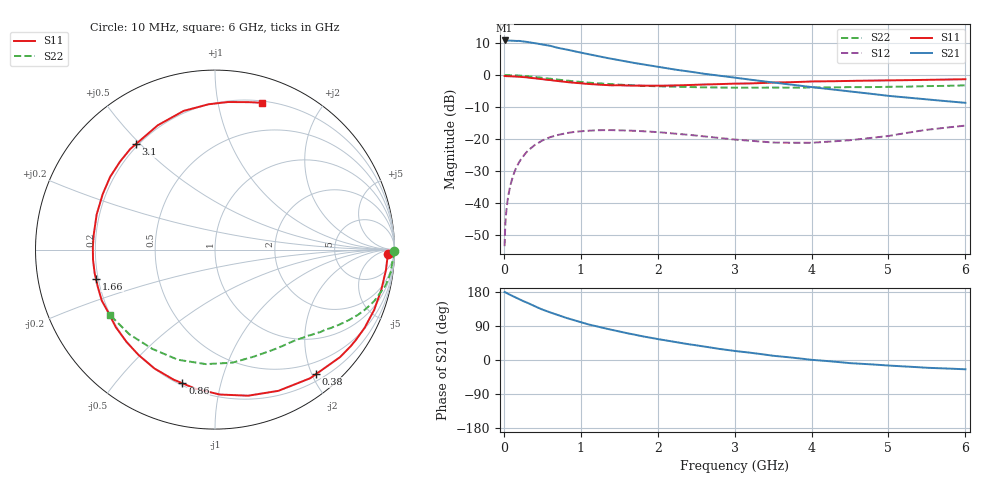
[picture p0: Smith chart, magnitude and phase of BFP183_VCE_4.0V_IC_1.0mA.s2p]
! Infineon Technologies  Discrete & RF Semiconductors
! BFP183
! VCE = 4.0 V,  IC =  1.0 mA
! Common Emitter S-Parameters:  Jan 2016
# GHz  S  MA  R  50
!  f  S11  S21  S12  S22
! GHz  MAG  ANG  MAG  ANG  MAG  ANG  MAG  ANG
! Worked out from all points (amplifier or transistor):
!   210 points, 10 MHz to 6 GHz, reference 50 ohm
!   highest |S21| = 10.8 dB at 10 MHz (marker M1)
!   |S21| within 3 dB of that: start of sweep to 847.1 MHz
!   unconditionally stable (mu >= 1): 2.482 GHz to end of sweep
!   at 185 MHz: K = 0.08, MSG = 19.3 dB, |S12| = -27.9 dB
!   at 1.52 GHz: K = 0.58, MSG = 10.9 dB, |S12| = -17.3 dB
!   at 6 GHz: K = 1.04, MAG = 2.3 dB, |S12| = -15.8 dB
!   S11 on the Smith chart (normalised r, x): 10 MHz: 38, -26; 380 MHz: 0.30, -2.07; 860 MHz: 0.21, -0.76; 1.66 GHz: 0.19, -0.12; 3.1 GHz: 0.19, +0.49; 6 GHz: 0.22, +1.35
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0.01  0.9645 -1.4  3.472 179.3  0.0021 90.0  0.9999 -0.5
0.02  0.9619 -2.7  3.454 178.7  0.0047 89.2  0.9972 -0.9
0.04  0.9594 -5.5  3.464 176.3  0.009 87.5  0.9959 -1.8
0.07  0.9552 -9.5  3.457 173.2  0.0155 84.1  0.9926 -3.3
0.105  0.9522 -14.2  3.439 169.8  0.023 81.1  0.989 -5.0
0.2  0.9407 -27.6  3.416 160.4  0.0435 73.5  0.9798 -9.4
0.38  0.8934 -50.9  3.182 143.8  0.0765 59.3  0.9377 -17.0
0.5  0.8626 -65.8  3.007 133.2  0.0945 50.9  0.9034 -21.5
0.6  0.8347 -77.2  2.87 125.7  0.1064 44.6  0.8749 -24.6
0.7  0.8079 -88.1  2.664 118.6  0.1153 39.2  0.8468 -27.4
0.86  0.7666 -103.7  2.438 108.2  0.1259 31.2  0.8083 -31.2
1.02  0.7382 -118.8  2.219 98.6  0.1323 24.1  0.7742 -34.6
1.3  0.7015 -142.0  1.891 84.2  0.1374 14.2  0.7294 -39.7
1.5  0.692 -155.8  1.703 74.9  0.1365 8.9  0.7049 -42.9
1.66  0.683 -166.3  1.569 68.5  0.1348 5.1  0.6908 -45.5
2.02  0.6806 172.2  1.335 54.6  0.1272 -1.1  0.665 -51.3
2.6  0.7111 145.2  1.047 35.6  0.1096 -6.2  0.6412 -62.1
3.1  0.7346 126.9  0.878 21.7  0.0957 -4.5  0.6329 -72.5
3.5  0.7626 114.7  0.764 11.2  0.0879 0.8  0.6375 -81.3
4.1  0.794 100.6  0.627 -1.0  0.0886 13.2  0.6385 -97.4
5.1  0.8275 83.5  0.46 -15.7  0.1168 27.4  0.6546 -124.9
6  0.8586 72.3  0.367 -24.5  0.1616 24.2  0.6896 -148.2
